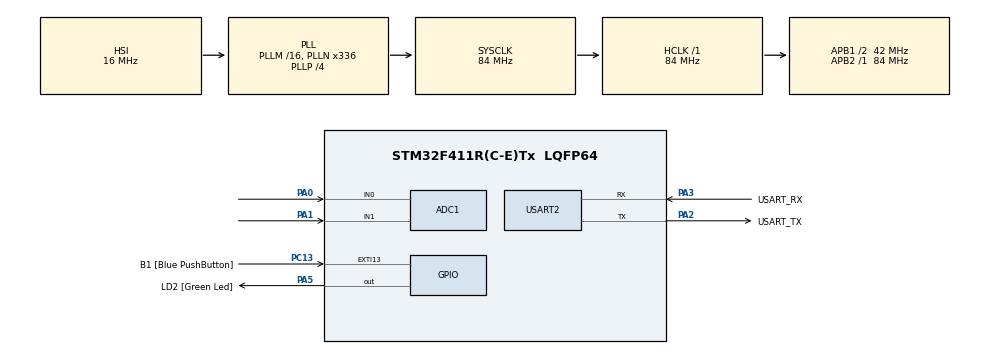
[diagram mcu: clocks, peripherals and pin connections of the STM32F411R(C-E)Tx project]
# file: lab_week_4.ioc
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ADC1.Channel-0\#ChannelRegularConversion=ADC_CHANNEL_0
ADC1.Channel-1\#ChannelRegularConversion=ADC_CHANNEL_1
ADC1.Channel-2\#ChannelRegularConversion=ADC_CHANNEL_TEMPSENSOR
ADC1.Channel-3\#ChannelRegularConversion=ADC_CHANNEL_VREFINT
ADC1.ContinuousConvMode=ENABLE
ADC1.DMAContinuousRequests=ENABLE
ADC1.NbrOfConversion=4
ADC1.NbrOfConversionFlag=1
ADC1.Rank-0\#ChannelRegularConversion=1
ADC1.Rank-1\#ChannelRegularConversion=2
ADC1.Rank-2\#ChannelRegularConversion=3
ADC1.Rank-3\#ChannelRegularConversion=4
ADC1.SamplingTime-0\#ChannelRegularConversion=ADC_SAMPLETIME_480CYCLES
ADC1.SamplingTime-1\#ChannelRegularConversion=ADC_SAMPLETIME_480CYCLES
ADC1.SamplingTime-2\#ChannelRegularConversion=ADC_SAMPLETIME_3CYCLES
ADC1.SamplingTime-3\#ChannelRegularConversion=ADC_SAMPLETIME_3CYCLES
ADC1.ScanConvMode=ENABLE
ADC1.master=1
Dma.ADC1.0.Direction=DMA_PERIPH_TO_MEMORY
Dma.ADC1.0.FIFOMode=DMA_FIFOMODE_DISABLE
Dma.ADC1.0.Instance=DMA2_Stream0
Dma.ADC1.0.MemDataAlignment=DMA_MDATAALIGN_WORD
Dma.ADC1.0.MemInc=DMA_MINC_ENABLE
Dma.ADC1.0.Mode=DMA_CIRCULAR
Dma.ADC1.0.PeriphDataAlignment=DMA_PDATAALIGN_WORD
Dma.ADC1.0.PeriphInc=DMA_PINC_DISABLE
Dma.ADC1.0.Priority=DMA_PRIORITY_LOW
Dma.Request0=ADC1
Mcu.Family=STM32F4
Mcu.Name=STM32F411R(C-E)Tx
Mcu.Package=LQFP64
NVIC.DMA2_Stream0_IRQn=true\:0\:0\:false\:false\:true\:false\:true
NVIC.EXTI15_10_IRQn=true\:0\:0\:false\:false\:true\:true\:true
NVIC.PriorityGroup=NVIC_PRIORITYGROUP_0
PA0-WKUP.Signal=ADCx_IN0
PA1.Signal=ADCx_IN1
PA13.GPIO_Label=TMS
PA13.Mode=Serial_Wire
PA13.Signal=SYS_JTMS-SWDIO
PA14.GPIO_Label=TCK
PA14.Mode=Serial_Wire
PA14.Signal=SYS_JTCK-SWCLK
PA2.GPIO_Label=USART_TX
PA2.Mode=Asynchronous
PA2.Signal=USART2_TX
PA3.GPIO_Label=USART_RX
PA3.Mode=Asynchronous
PA3.Signal=USART2_RX
PA5.GPIO_Label=LD2 [Green Led]
PA5.Signal=GPIO_Output
PB3.GPIO_Label=SWO
PB3.Signal=SYS_JTDO-SWO
PC13-ANTI_TAMP.GPIO_Label=B1 [Blue PushButton]
PC13-ANTI_TAMP.GPIO_ModeDefaultEXTI=GPIO_MODE_IT_RISING_FALLING
PC13-ANTI_TAMP.GPIO_PuPd=GPIO_PULLUP
PC13-ANTI_TAMP.Signal=GPXTI13
PC14-OSC32_IN.Mode=LSE-External-Oscillator
PC14-OSC32_IN.Signal=RCC_OSC32_IN
PC15-OSC32_OUT.Mode=LSE-External-Oscillator
PC15-OSC32_OUT.Signal=RCC_OSC32_OUT
PH0\ -\ OSC_IN.Mode=HSE-External-Clock-Source
PH0\ -\ OSC_IN.Signal=RCC_OSC_IN
PH1\ -\ OSC_OUT.Mode=HSE-External-Clock-Source
PH1\ -\ OSC_OUT.Signal=RCC_OSC_OUT
ProjectManager.HeapSize=0x200
ProjectManager.StackSize=0x400
ProjectManager.TargetToolchain=STM32CubeIDE
RCC.48MHZClocksFreq_Value=84000000
RCC.AHBFreq_Value=84000000
RCC.APB1CLKDivider=RCC_HCLK_DIV2
RCC.APB1Freq_Value=42000000
RCC.APB1TimFreq_Value=84000000
RCC.APB2Freq_Value=84000000
RCC.APB2TimFreq_Value=84000000
RCC.CortexFreq_Value=84000000
RCC.FLatency-AdvancedSettings=FLASH_LATENCY_2
RCC.HCLKFreq_Value=84000000
RCC.HSE_VALUE=8000000
RCC.HSI_VALUE=16000000
RCC.PLLN=336
RCC.PLLP=RCC_PLLP_DIV4
RCC.SYSCLKFreq_VALUE=84000000
RCC.SYSCLKSource=RCC_SYSCLKSOURCE_PLLCLK
RCC.VCOOutputFreq_Value=336000000
SH.ADCx_IN0.0=ADC1_IN0,IN0
SH.ADCx_IN1.0=ADC1_IN1,IN1
USART2.VirtualMode=VM_ASYNC
VP_ADC1_TempSens_Input.Mode=IN-TempSens
VP_ADC1_Vref_Input.Mode=IN-Vrefint
board=NUCLEO-F411RE

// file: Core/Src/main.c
/* USER CODE BEGIN Header */
/**
  ******************************************************************************
  * @file           : main.c
  * @brief          : Main program body
  ******************************************************************************
  * @attention
  *
  * <h2><center>&copy; Copyright (c) 2021 STMicroelectronics.
  * All rights reserved.</center></h2>
  *
  * This software component is licensed by ST under BSD 3-Clause license,
  * the "License"; You may not use this file except in compliance with the
  * License. You may obtain a copy of the License at:
  *                        opensource.org/licenses/BSD-3-Clause
  *
  ******************************************************************************
  */
/* USER CODE END Header */
#include "main.h"

ADC_HandleTypeDef hadc1;
DMA_HandleTypeDef hdma_adc1;

UART_HandleTypeDef huart2;

/* USER CODE BEGIN PV */
uint32_t ADCData[4]={0};
uint32_t timestamp=0;
uint32_t timestampAfter=0;
uint32_t savetime=0;
uint32_t timeuse=0;
uint32_t respontime=0;
int A;
int B;
int check=0;

/* USER CODE END PV */

void SystemClock_Config(void);
static void MX_GPIO_Init(void);
static void MX_DMA_Init(void);
static void MX_USART2_UART_Init(void);
static void MX_ADC1_Init(void);

int main(void)
{
  /* USER CODE BEGIN 1 */
//	HAL_GPIO_WritePin(GPIOA, GPIO_PIN_5,GPIO_PIN_SET);

  /* USER CODE END 1 */

  /* MCU Configuration--------------------------------------------------------*/

  /* Reset of all peripherals, Initializes the Flash interface and the Systick. */
  HAL_Init();

  /* Configure the system clock */
  SystemClock_Config();

  /* Initialize all configured peripherals */
  MX_GPIO_Init();
  MX_DMA_Init();
  MX_USART2_UART_Init();
  MX_ADC1_Init();
  /* USER CODE BEGIN 2 */
  HAL_ADC_Start_DMA(&hadc1, ADCData, 4);

  /* USER CODE END 2 */

  /* Infinite loop */
  while (1)
  {

    /* USER CODE BEGIN 3 */
	  if(check==1)
	  {
		  if(HAL_GetTick()-timestamp>= 1000+((22695477-A)+B)%10000)
		  	  		{
		  	  			timestamp=HAL_GetTick();
		  	  			HAL_GPIO_WritePin(GPIOA, GPIO_PIN_5, GPIO_PIN_SET);
		  	  			check=2;
		  	  		}
	  }

  }
  /* USER CODE END 3 */
}

void SystemClock_Config(void)
{
  RCC_OscInitTypeDef RCC_OscInitStruct = {0};
  RCC_ClkInitTypeDef RCC_ClkInitStruct = {0};

  /** Configure the main internal regulator output voltage
  */
  __HAL_RCC_PWR_CLK_ENABLE();
  __HAL_PWR_VOLTAGESCALING_CONFIG(PWR_REGULATOR_VOLTAGE_SCALE1);
  /** Initializes the RCC Oscillators according to the specified parameters
  * in the RCC_OscInitTypeDef structure.
  */
  RCC_OscInitStruct.OscillatorType = RCC_OSCILLATORTYPE_HSI;
  RCC_OscInitStruct.HSIState = RCC_HSI_ON;
  RCC_OscInitStruct.HSICalibrationValue = RCC_HSICALIBRATION_DEFAULT;
  RCC_OscInitStruct.PLL.PLLState = RCC_PLL_ON;
  RCC_OscInitStruct.PLL.PLLSource = RCC_PLLSOURCE_HSI;
  RCC_OscInitStruct.PLL.PLLM = 16;
  RCC_OscInitStruct.PLL.PLLN = 336;
  RCC_OscInitStruct.PLL.PLLP = RCC_PLLP_DIV4;
  RCC_OscInitStruct.PLL.PLLQ = 4;
  if (HAL_RCC_OscConfig(&RCC_OscInitStruct) != HAL_OK)
  {
    Error_Handler();
  }
  /** Initializes the CPU, AHB and APB buses clocks
  */
  RCC_ClkInitStruct.ClockType = RCC_CLOCKTYPE_HCLK|RCC_CLOCKTYPE_SYSCLK
                              |RCC_CLOCKTYPE_PCLK1|RCC_CLOCKTYPE_PCLK2;
  RCC_ClkInitStruct.SYSCLKSource = RCC_SYSCLKSOURCE_PLLCLK;
  RCC_ClkInitStruct.AHBCLKDivider = RCC_SYSCLK_DIV1;
  RCC_ClkInitStruct.APB1CLKDivider = RCC_HCLK_DIV2;
  RCC_ClkInitStruct.APB2CLKDivider = RCC_HCLK_DIV1;

  if (HAL_RCC_ClockConfig(&RCC_ClkInitStruct, FLASH_LATENCY_2) != HAL_OK)
  {
    Error_Handler();
  }
}

static void MX_ADC1_Init(void)
{

  ADC_ChannelConfTypeDef sConfig = {0};

  /** Configure the global features of the ADC (Clock, Resolution, Data Alignment and number of conversion)
  */
  hadc1.Instance = ADC1;
  hadc1.Init.ClockPrescaler = ADC_CLOCK_SYNC_PCLK_DIV4;
  hadc1.Init.Resolution = ADC_RESOLUTION_12B;
  hadc1.Init.ScanConvMode = ENABLE;
  hadc1.Init.ContinuousConvMode = ENABLE;
  hadc1.Init.DiscontinuousConvMode = DISABLE;
  hadc1.Init.ExternalTrigConvEdge = ADC_EXTERNALTRIGCONVEDGE_NONE;
  hadc1.Init.ExternalTrigConv = ADC_SOFTWARE_START;
  hadc1.Init.DataAlign = ADC_DATAALIGN_RIGHT;
  hadc1.Init.NbrOfConversion = 4;
  hadc1.Init.DMAContinuousRequests = ENABLE;
  hadc1.Init.EOCSelection = ADC_EOC_SINGLE_CONV;
  if (HAL_ADC_Init(&hadc1) != HAL_OK)
  {
    Error_Handler();
  }
  /** Configure for the selected ADC regular channel its corresponding rank in the sequencer and its sample time.
  */
  sConfig.Channel = ADC_CHANNEL_0;
  sConfig.Rank = 1;
  sConfig.SamplingTime = ADC_SAMPLETIME_480CYCLES;
  if (HAL_ADC_ConfigChannel(&hadc1, &sConfig) != HAL_OK)
  {
    Error_Handler();
  }
  /** Configure for the selected ADC regular channel its corresponding rank in the sequencer and its sample time.
  */
  sConfig.Channel = ADC_CHANNEL_1;
  sConfig.Rank = 2;
  if (HAL_ADC_ConfigChannel(&hadc1, &sConfig) != HAL_OK)
  {
    Error_Handler();
  }
  /** Configure for the selected ADC regular channel its corresponding rank in the sequencer and its sample time.
  */
  sConfig.Channel = ADC_CHANNEL_TEMPSENSOR;
  sConfig.Rank = 3;
  sConfig.SamplingTime = ADC_SAMPLETIME_3CYCLES;
  if (HAL_ADC_ConfigChannel(&hadc1, &sConfig) != HAL_OK)
  {
    Error_Handler();
  }
  /** Configure for the selected ADC regular channel its corresponding rank in the sequencer and its sample time.
  */
  sConfig.Channel = ADC_CHANNEL_VREFINT;
  sConfig.Rank = 4;
  if (HAL_ADC_ConfigChannel(&hadc1, &sConfig) != HAL_OK)
  {
    Error_Handler();
  }

}

static void MX_USART2_UART_Init(void)
{

  huart2.Instance = USART2;
  huart2.Init.BaudRate = 115200;
  huart2.Init.WordLength = UART_WORDLENGTH_8B;
  huart2.Init.StopBits = UART_STOPBITS_1;
  huart2.Init.Parity = UART_PARITY_NONE;
  huart2.Init.Mode = UART_MODE_TX_RX;
  huart2.Init.HwFlowCtl = UART_HWCONTROL_NONE;
  huart2.Init.OverSampling = UART_OVERSAMPLING_16;
  if (HAL_UART_Init(&huart2) != HAL_OK)
  {
    Error_Handler();
  }

}

static void MX_DMA_Init(void)
{

  /* DMA controller clock enable */
  __HAL_RCC_DMA2_CLK_ENABLE();

  /* DMA interrupt init */
  /* DMA2_Stream0_IRQn interrupt configuration */
  HAL_NVIC_SetPriority(DMA2_Stream0_IRQn, 0, 0);
  HAL_NVIC_EnableIRQ(DMA2_Stream0_IRQn);

}

static void MX_GPIO_Init(void)
{
  GPIO_InitTypeDef GPIO_InitStruct = {0};

  /* GPIO Ports Clock Enable */
  __HAL_RCC_GPIOC_CLK_ENABLE();
  __HAL_RCC_GPIOH_CLK_ENABLE();
  __HAL_RCC_GPIOA_CLK_ENABLE();
  __HAL_RCC_GPIOB_CLK_ENABLE();

  /*Configure GPIO pin Output Level */
  HAL_GPIO_WritePin(LD2_GPIO_Port, LD2_Pin, GPIO_PIN_SET);

  /*Configure GPIO pin : B1_Pin */
  GPIO_InitStruct.Pin = B1_Pin;
  GPIO_InitStruct.Mode = GPIO_MODE_IT_RISING_FALLING;
  GPIO_InitStruct.Pull = GPIO_PULLUP;
  HAL_GPIO_Init(B1_GPIO_Port, &GPIO_InitStruct);

  /*Configure GPIO pin : LD2_Pin */
  GPIO_InitStruct.Pin = LD2_Pin;
  GPIO_InitStruct.Mode = GPIO_MODE_OUTPUT_PP;
  GPIO_InitStruct.Pull = GPIO_NOPULL;
  GPIO_InitStruct.Speed = GPIO_SPEED_FREQ_LOW;
  HAL_GPIO_Init(LD2_GPIO_Port, &GPIO_InitStruct);

  /* EXTI interrupt init*/
  HAL_NVIC_SetPriority(EXTI15_10_IRQn, 0, 0);
  HAL_NVIC_EnableIRQ(EXTI15_10_IRQn);

}

/* USER CODE BEGIN 4 */
void HAL_GPIO_EXTI_Callback(uint16_t GPIO_Pin)
{
	if(GPIO_Pin == GPIO_PIN_13)
	{
		A=ADCData[0];
		B=ADCData[1];
		if(check==0)
		{
			HAL_GPIO_WritePin(GPIOA, GPIO_PIN_5, GPIO_PIN_RESET);
			check=1;
		}
		else if(check==2)
		{
			savetime=HAL_GetTick()-timestamp;
			check=0;
		}
	}
}
/* USER CODE END 4 */

void Error_Handler(void)
{
  __disable_irq();
  while (1)
  {
  }
}

/************************ (C) COPYRIGHT STMicroelectronics *****END OF FILE****/
